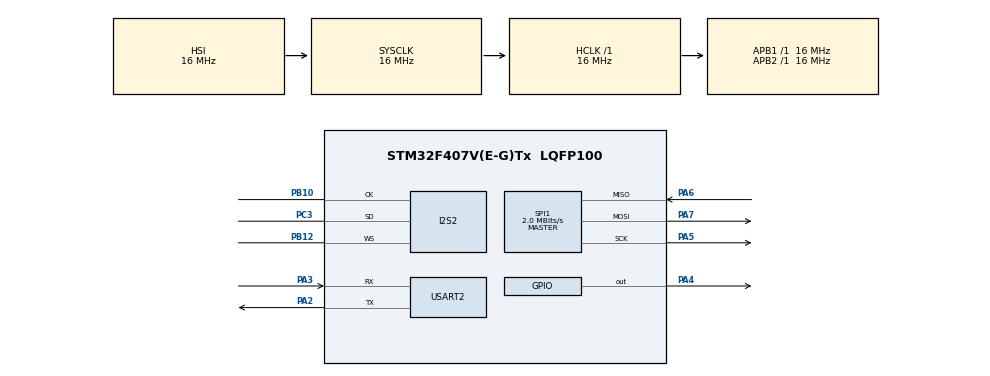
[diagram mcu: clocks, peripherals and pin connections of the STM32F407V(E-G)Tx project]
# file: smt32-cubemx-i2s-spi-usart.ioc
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Mcu.Family=STM32F4
PC3.Mode=Half_Duplex_Master
I2S2.AudioFreq=I2S_AUDIOFREQ_16K
PA6.Mode=Full_Duplex_Master
Dma.SPI1_TX.0.MemInc=DMA_MINC_ENABLE
Dma.SPI1_TX.0.PeriphInc=DMA_PINC_DISABLE
Dma.SPI2_RX.1.MemDataAlignment=DMA_MDATAALIGN_HALFWORD
RCC.CortexFreq_Value=16000000
PA7.Mode=Full_Duplex_Master
I2S2.Instance=SPI$Index
PDM2PCM.CHANNEL1_in_ptr_channels=1
PB10.GPIO_Speed=GPIO_SPEED_FREQ_HIGH
SPI1.VirtualType=VM_MASTER
PB10.GPIO_PuPd=GPIO_NOPULL
PB10.Mode=Half_Duplex_Master
I2S2.CPOL=I2S_CPOL_HIGH
Dma.SPI2_RX.1.Mode=DMA_CIRCULAR
NVIC.USART2_IRQn=true\:0\:0\:false\:false\:true\:true\:true
Dma.SPI2_RX.1.Direction=DMA_PERIPH_TO_MEMORY
PC3.GPIO_Speed=GPIO_SPEED_FREQ_HIGH
ProjectManager.StackSize=0x400
PA3.Mode=Asynchronous
Dma.SPI2_RX.1.PeriphDataAlignment=DMA_PDATAALIGN_HALFWORD
Dma.SPI1_TX.0.FIFOMode=DMA_FIFOMODE_DISABLE
SPI1.CLKPolarity=SPI_POLARITY_LOW
PA4.PinState=GPIO_PIN_SET
ProjectManager.TargetToolchain=Makefile
SPI1.Direction=SPI_DIRECTION_2LINES
Dma.SPI1_TX.0.PeriphDataAlignment=DMA_PDATAALIGN_BYTE
Dma.SPI1_TX.0.Direction=DMA_MEMORY_TO_PERIPH
I2S2.VirtualMode=I2S_MODE_MASTER
SPI1.CalculateBaudRate=2.0 MBits/s
PC3.Signal=I2S2_SD
NVIC.DMA2_Stream3_IRQn=true\:0\:0\:false\:false\:true\:false\:true
RCC.LSE_VALUE=32768
RCC.AHBFreq_Value=16000000
PB12.GPIO_Speed=GPIO_SPEED_FREQ_HIGH
PB10.Signal=I2S2_CK
PDM2PCM.CHANNEL1_endianness=PDM_FILTER_ENDIANNESS_LE
PDM2PCM.CHANNEL1_out_ptr_channels=1
PA5.Signal=SPI1_SCK
RCC.HSE_VALUE=25000000
PA4.GPIO_PuPd=GPIO_PULLUP
board=custom
RCC.VCOOutputFreq_Value=192000000
RCC.APB2Freq_Value=16000000
Dma.SPI2_RX.1.FIFOMode=DMA_FIFOMODE_DISABLE
Dma.SPI2_RX.1.Priority=DMA_PRIORITY_LOW
VP_PDM2PCM_VS_PDM2PCM.Mode=PDM2PCM_Channel
SPI1.Mode=SPI_MODE_MASTER
PA5.GPIO_PuPd=GPIO_NOPULL
Dma.SPI1_TX.0.Instance=DMA2_Stream3
SPI1.FirstBit=SPI_FIRSTBIT_MSB
Dma.SPI2_RX.1.PeriphInc=DMA_PINC_DISABLE
Mcu.Name=STM32F407V(E-G)Tx
PA2.Signal=USART2_TX
I2S2.FullDuplexMode=I2S_FULLDUPLEXMODE_DISABLE
Dma.SPI1_TX.0.Mode=DMA_NORMAL
PA4.Signal=GPIO_Output
RCC.SYSCLKFreq_VALUE=16000000
Mcu.Package=LQFP100
PA6.Signal=SPI1_MISO
PB12.Mode=Half_Duplex_Master
I2S2.ErrorAudioFreq=-0.26 %
USART2.VirtualMode=VM_ASYNC
I2S2.Mode=I2S_MODE_MASTER_RX
ProjectManager.HeapSize=0x200
Dma.SPI1_TX.0.Priority=DMA_PRIORITY_LOW
Dma.SPI1_TX.0.MemDataAlignment=DMA_MDATAALIGN_BYTE
Dma.SPI2_RX.1.Instance=DMA1_Stream3
RCC.HSI_VALUE=16000000
NVIC.PriorityGroup=NVIC_PRIORITYGROUP_4
Dma.Request1=SPI2_RX
PA2.Mode=Asynchronous
NVIC.DMA1_Stream3_IRQn=true\:0\:0\:false\:false\:true\:false\:true
Dma.Request0=SPI1_TX
RCC.APB1Freq_Value=16000000
SPI1.BaudRatePrescaler=SPI_BAUDRATEPRESCALER_8
VP_CRC_VS_CRC.Mode=CRC_Activate
I2S2.RealAudioFreq=15.957 KHz
I2S2.Standard=I2S_STANDARD_LSB
Dma.SPI2_RX.1.MemInc=DMA_MINC_ENABLE
PB12.Signal=I2S2_WS
PA3.Signal=USART2_RX
PA5.Mode=Full_Duplex_Master
PA7.Signal=SPI1_MOSI

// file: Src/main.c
/* USER CODE BEGIN Header */
/**
  ******************************************************************************
  * @file           : main.c
  * @brief          : Main program body
  ******************************************************************************
  * @attention
  *
  * <h2><center>&copy; Copyright (c) 2020 STMicroelectronics.
  * All rights reserved.</center></h2>
  *
  * This software component is licensed by ST under BSD 3-Clause license,
  * the "License"; You may not use this file except in compliance with the
  * License. You may obtain a copy of the License at:
  *                        opensource.org/licenses/BSD-3-Clause
  *
  ******************************************************************************
  */
/* USER CODE END Header */

#include "main.h"
#include "crc.h"
#include "dma.h"
#include "i2s.h"
#include "pdm2pcm.h"
#include "spi.h"
#include "usart.h"
#include "gpio.h"

/* USER CODE BEGIN Includes */
#include <string.h>
/* USER CODE END Includes */

/* USER CODE BEGIN PTD */
#define AUDIO_BUFFER_SIZE_PDM 32
#define AUDIO_BUFFER_SIZE_PCM 17
#define AUDIO_FREQUENCY 16000u
/* USER CODE END PTD */

/* USER CODE BEGIN PV */

unsigned int isI2SReadingError = 0u;

unsigned int isAudioBufferPDMHalf = 0u;
unsigned int isAudioBufferPDMFull = 0u;
static uint16_t audioBufferPDM[AUDIO_BUFFER_SIZE_PDM];

unsigned int isAudioBufferPCMEmpty = 1u;
static uint16_t audioBufferPCM[AUDIO_BUFFER_SIZE_PCM];

/* USER CODE END PV */

void SystemClock_Config(void);

int main(void)
{

  /* MCU Configuration--------------------------------------------------------*/

  /* Reset of all peripherals, Initializes the Flash interface and the Systick. */
  HAL_Init();

  /* Configure the system clock */
  SystemClock_Config();

  /* Initialize all configured peripherals */
  MX_GPIO_Init();
  MX_DMA_Init();
  MX_SPI1_Init();
  MX_USART2_UART_Init();
  MX_I2S2_Init();
  MX_CRC_Init();
  MX_PDM2PCM_Init();
  /* USER CODE BEGIN 2 */

  static char * data = "STM32F4 Discovery Started!\n";
  HAL_UART_Transmit(&huart2, (uint8_t *)data, strlen(data), 100u);

  HAL_I2S_Receive_DMA(&hi2s2, audioBufferPDM, AUDIO_BUFFER_SIZE_PDM);

  /* USER CODE END 2 */

  /* Infinite loop */
  /* USER CODE BEGIN WHILE */
  while (1)
  {
    if (isAudioBufferPDMHalf)
    {
      isAudioBufferPDMHalf = 0u;

      #if 1
      if (isAudioBufferPCMEmpty)
      {
        audioBufferPCM[0u] = 0x0002; // ESP8266 SPI Slave WRTIE command.

        // Convert PDM data into PCM.
        for (unsigned int i = 1u; i < AUDIO_BUFFER_SIZE_PCM; ++i)
        {
          PDM_Filter(&audioBufferPDM[i - 1u], &audioBufferPCM[i], &PDM1_filter_handler);
        }

        isAudioBufferPCMEmpty = 0u;

        HAL_GPIO_WritePin(GPIOA, GPIO_PIN_4, GPIO_PIN_RESET);
        HAL_SPI_Transmit_DMA(&hspi1, (uint8_t*)audioBufferPCM, AUDIO_BUFFER_SIZE_PCM);
      }
      else
      {
        static char * msgBufferSyncError = "Synchronization error!\n";
        HAL_UART_Transmit(&huart2, (uint8_t *)msgBufferSyncError, strlen(msgBufferSyncError), 100u);
        while (1) {}
      }
      #endif

      static char * msgHalfBuffer = "H\n";
      HAL_UART_Transmit(&huart2, (uint8_t *)msgHalfBuffer, strlen(msgHalfBuffer), 100u);
    }

    if (isAudioBufferPDMFull)
    {
      isAudioBufferPDMFull = 0u;

      #if 0
      if (isAudioBufferPCMEmpty)
      {
        audioBufferPCM[0u] = 0x0002; // ESP8266 SPI Slave WRTIE command.

        // Convert PDM data into PCM.
        for (unsigned int i = 1u; i < AUDIO_BUFFER_SIZE_PCM; ++i)
        {
          PDM_Filter(&audioBufferPDM[i - 1u + (AUDIO_BUFFER_SIZE_PDM / 2u)], &audioBufferPCM[i], &PDM1_filter_handler);
        }

        isAudioBufferPCMEmpty = 0u;

        HAL_GPIO_WritePin(GPIOA, GPIO_PIN_4, GPIO_PIN_RESET);
        HAL_SPI_Transmit_DMA(&hspi1, (uint8_t*)audioBufferPCM, AUDIO_BUFFER_SIZE_PCM);
      }
      else
      {
        static char * msgBufferSyncError = "Synchronization error!\n";
        HAL_UART_Transmit(&huart2, (uint8_t *)msgBufferSyncError, strlen(msgBufferSyncError), 100u);
        while (1) {}
      }
      #endif

      static char * msgFullBuffer = "F\n";
      HAL_UART_Transmit(&huart2, (uint8_t *)msgFullBuffer, strlen(msgFullBuffer), 100u);
    }

    if (isI2SReadingError)
    {
      isI2SReadingError = 0u;
      static char * msgAudioError = "Audio Error!\n";
      HAL_UART_Transmit(&huart2, (uint8_t *)msgAudioError, strlen(msgAudioError), 100u);
    }
    /* USER CODE END WHILE */

  }
}

void SystemClock_Config(void)
{
  RCC_OscInitTypeDef RCC_OscInitStruct = {0};
  RCC_ClkInitTypeDef RCC_ClkInitStruct = {0};
  RCC_PeriphCLKInitTypeDef PeriphClkInitStruct = {0};

  /** Macro to configure the PLL multiplication factor
  */
  __HAL_RCC_PLL_PLLM_CONFIG(16);
  /** Macro to configure the PLL clock source
  */
  __HAL_RCC_PLL_PLLSOURCE_CONFIG(RCC_PLLSOURCE_HSI);
  /** Configure the main internal regulator output voltage
  */
  __HAL_RCC_PWR_CLK_ENABLE();
  __HAL_PWR_VOLTAGESCALING_CONFIG(PWR_REGULATOR_VOLTAGE_SCALE1);
  /** Initializes the CPU, AHB and APB busses clocks
  */
  RCC_OscInitStruct.OscillatorType = RCC_OSCILLATORTYPE_HSI;
  RCC_OscInitStruct.HSIState = RCC_HSI_ON;
  RCC_OscInitStruct.HSICalibrationValue = RCC_HSICALIBRATION_DEFAULT;
  RCC_OscInitStruct.PLL.PLLState = RCC_PLL_NONE;
  RCC_OscInitStruct.PLL.PLLSource = RCC_PLLSOURCE_HSI;
  if (HAL_RCC_OscConfig(&RCC_OscInitStruct) != HAL_OK)
  {
    Error_Handler();
  }
  /** Initializes the CPU, AHB and APB busses clocks
  */
  RCC_ClkInitStruct.ClockType = RCC_CLOCKTYPE_HCLK|RCC_CLOCKTYPE_SYSCLK
                              |RCC_CLOCKTYPE_PCLK1|RCC_CLOCKTYPE_PCLK2;
  RCC_ClkInitStruct.SYSCLKSource = RCC_SYSCLKSOURCE_HSI;
  RCC_ClkInitStruct.AHBCLKDivider = RCC_SYSCLK_DIV1;
  RCC_ClkInitStruct.APB1CLKDivider = RCC_HCLK_DIV1;
  RCC_ClkInitStruct.APB2CLKDivider = RCC_HCLK_DIV1;

  if (HAL_RCC_ClockConfig(&RCC_ClkInitStruct, FLASH_LATENCY_0) != HAL_OK)
  {
    Error_Handler();
  }
  PeriphClkInitStruct.PeriphClockSelection = RCC_PERIPHCLK_I2S;
  PeriphClkInitStruct.PLLI2S.PLLI2SN = 192;
  PeriphClkInitStruct.PLLI2S.PLLI2SR = 2;
  if (HAL_RCCEx_PeriphCLKConfig(&PeriphClkInitStruct) != HAL_OK)
  {
    Error_Handler();
  }
}

/* USER CODE BEGIN 4 */
void HAL_I2S_RxCpltCallback(I2S_HandleTypeDef *hi2s)
{
  isAudioBufferPDMFull = 1u;
}

void HAL_I2S_RxHalfCpltCallback(I2S_HandleTypeDef *hi2s)
{
  isAudioBufferPDMHalf = 1u;
}

void HAL_I2S_ErrorCallback (I2S_HandleTypeDef * hi2s)
{
  isI2SReadingError = 1u;
}

void HAL_SPI_TxCpltCallback(SPI_HandleTypeDef *hspi)
{
  HAL_GPIO_WritePin(GPIOA, GPIO_PIN_4, GPIO_PIN_SET);
  isAudioBufferPCMEmpty = 1u;
}
/* USER CODE END 4 */

void Error_Handler(void)
{
}

/************************ (C) COPYRIGHT STMicroelectronics *****END OF FILE****/
